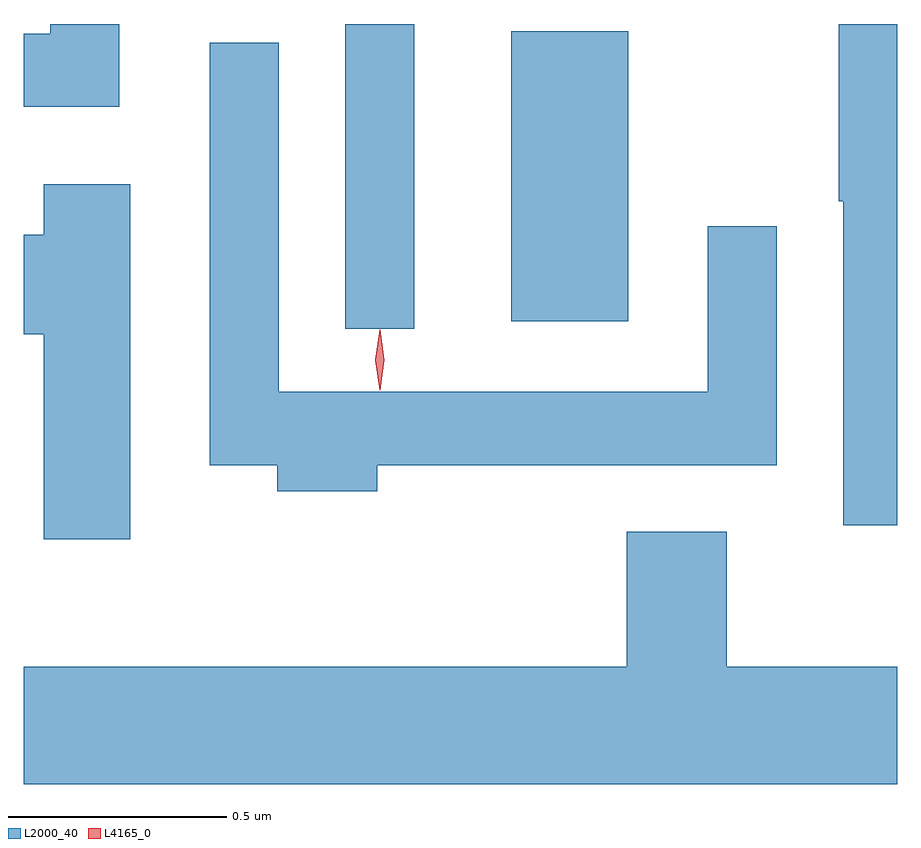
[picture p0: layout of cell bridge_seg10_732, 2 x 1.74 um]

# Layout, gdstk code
import gdstk
lib = gdstk.Library(unit=1e-6, precision=1e-09)
def R(c, l, rs):  # rectangles x0, y0, x1, y1
    for r in rs: c.add(gdstk.rectangle(r[:2], r[2:], *l))
def P(c, l, *ps):  # polygons
    for p in ps: c.add(gdstk.Polygon(p, *l))
L2000_40 = (2000, 40)
L4165_0 = (4165, 0)

bridge_seg10_732 = lib.new_cell('bridge_seg10_732')
R(bridge_seg10_732, L2000_40, [(1032.206,2094.978,1032.364,2095.676), (1032.586,2094.996,1032.854,2095.659)])
P(bridge_seg10_732, L2000_40, [(1031.689,2095.676),(1031.531,2095.676),(1031.531,2095.654),(1031.47,2095.654),(1031.47,2095.486),(1031.689,2095.486)],
  [(1033.47,2095.676),(1033.336,2095.676),(1033.336,2095.27),(1033.346,2095.27),(1033.346,2094.528),(1033.47,2094.528)],
  [(1032.279,2094.666),(1033.194,2094.666),(1033.194,2095.213),(1033.036,2095.213),(1033.036,2094.834),(1032.054,2094.834),(1032.054,2095.633),(1031.896,2095.633),(1031.896,2094.666),(1032.051,2094.666),(1032.051,2094.606),(1032.279,2094.606)],
  [(1031.714,2095.309),(1031.516,2095.309),(1031.516,2095.194),(1031.47,2095.194),(1031.47,2094.966),(1031.516,2094.966),(1031.516,2094.496),(1031.714,2094.496)],
  [(1033.47,2094.204),(1033.079,2094.204),(1033.079,2094.514),(1032.851,2094.514),(1032.851,2094.204),(1031.47,2094.204),(1031.47,2093.936),(1033.47,2093.936)])
P(bridge_seg10_732, L4165_0, [(1032.285,2094.837),(1032.285,2094.837),(1032.275,2094.907),(1032.285,2094.976),(1032.285,2094.976),(1032.286,2094.976),(1032.295,2094.907),(1032.286,2094.837)],
  [(1032.285,2094.839),(1032.285,2094.84),(1032.275,2094.906),(1032.285,2094.972),(1032.285,2094.973),(1032.286,2094.972),(1032.295,2094.906),(1032.286,2094.84)])

lib.write_gds('bridge_seg10_732.gds')
